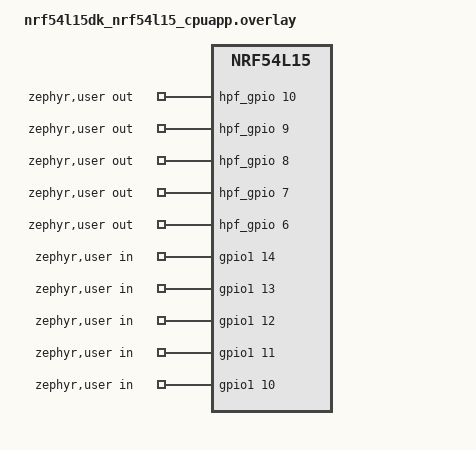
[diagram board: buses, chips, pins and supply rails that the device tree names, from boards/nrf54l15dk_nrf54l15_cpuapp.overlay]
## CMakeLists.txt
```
#
# Copyright (c) 2024 Nordic Semiconductor ASA
#
# SPDX-License-Identifier: LicenseRef-Nordic-5-Clause
#

cmake_minimum_required(VERSION 3.20.0)

find_package(Zephyr REQUIRED HINTS $ENV{ZEPHYR_BASE})
project(hpf_gpio_more_loops)

target_sources(app PRIVATE src/main.c)
```

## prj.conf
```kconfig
CONFIG_GPIO=y
CONFIG_ZTEST=y
CONFIG_LOG=y
```

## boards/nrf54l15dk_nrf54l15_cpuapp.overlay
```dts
/*
 * Copyright (c) 2024 Nordic Semiconductor ASA
 *
 * SPDX-License-Identifier: LicenseRef-Nordic-5-Clause
 */

/* Test requires GPIO loopback:
 * - between P2.10 and P1.14,
 * - between P2.09 and P1.13,
 * - between P2.08 and P1.12,
 * - between P2.07 and P1.11,
 * - between P2.06 and P1.10.
 */

/ {
	/* Test requirements:
	 * out-gpios[0] wire connected with in-gpios[0],
	 * out-gpios[1] wire connected with in-gpios[1],
	 * etc.
	 * Output-input GPIO pair must have identical active level flag.
	 * All outputs must be on the same device.
	 */
	zephyr,user {
		out-gpios = <&hpf_gpio 10 GPIO_ACTIVE_HIGH>, <&hpf_gpio 9 GPIO_ACTIVE_HIGH>,
			    <&hpf_gpio 8 GPIO_ACTIVE_HIGH>, <&hpf_gpio 7 GPIO_ACTIVE_HIGH>,
			    <&hpf_gpio 6 GPIO_ACTIVE_HIGH>;

		in-gpios = <&gpio1 14 GPIO_ACTIVE_HIGH>, <&gpio1 13 GPIO_ACTIVE_HIGH>,
			   <&gpio1 12 GPIO_ACTIVE_HIGH>, <&gpio1 11 GPIO_ACTIVE_HIGH>,
			   <&gpio1 10 GPIO_ACTIVE_HIGH>;
	};
};

&gpiote20 {
	status = "okay";
};

&gpio1 {
	status = "okay";
};
```

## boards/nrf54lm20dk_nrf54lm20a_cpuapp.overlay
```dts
/*
 * Copyright (c) 2026 Nordic Semiconductor ASA
 *
 * SPDX-License-Identifier: LicenseRef-Nordic-5-Clause
 */

/* Test requires GPIO loopback:
 * - between P2.06 and P3.00,
 * - between P2.09 and P3.01,
 * - between P2.10 and P3.02.
 */

/ {
	/* Test requirements:
	 * out-gpios[0] wire connected with in-gpios[0],
	 * out-gpios[1] wire connected with in-gpios[1],
	 * etc.
	 * Output-input GPIO pair must have identical active level flag.
	 * All outputs must be on the same device.
	 */
	zephyr,user {
		out-gpios = <&hpf_gpio 6 GPIO_ACTIVE_HIGH>, <&hpf_gpio 9 GPIO_ACTIVE_HIGH>,
			    <&hpf_gpio 10 GPIO_ACTIVE_HIGH>;

		in-gpios = <&gpio3 0 GPIO_ACTIVE_HIGH>, <&gpio3 1 GPIO_ACTIVE_HIGH>,
			   <&gpio3 2 GPIO_ACTIVE_HIGH>;
	};
};

&gpiote20 {
	status = "okay";
};

&gpio3 {
	status = "okay";
};
```

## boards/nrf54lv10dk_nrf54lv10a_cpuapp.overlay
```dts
/*
 * Copyright (c) 2026 Nordic Semiconductor ASA
 *
 * SPDX-License-Identifier: LicenseRef-Nordic-5-Clause
 */

/* Test requires GPIO loopback:
 * - between P1.16 and P1.22,
 * - between P1.17 and P1.23,
 * - between P1.20 and P1.21.
 */

/ {
	/* Test requirements:
	 * out-gpios[0] wire connected with in-gpios[0],
	 * out-gpios[1] wire connected with in-gpios[1],
	 * etc.
	 * Output-input GPIO pair must have identical active level flag.
	 * All outputs must be on the same device.
	 */
	zephyr,user {
		out-gpios = <&hpf_gpio 16 GPIO_ACTIVE_HIGH>, <&hpf_gpio 17 GPIO_ACTIVE_HIGH>,
			    <&hpf_gpio 20 GPIO_ACTIVE_HIGH>;

		in-gpios = <&gpio1 22 GPIO_ACTIVE_HIGH>, <&gpio1 23 GPIO_ACTIVE_HIGH>,
			   <&gpio1 21 GPIO_ACTIVE_HIGH>;
	};
};

&gpiote20 {
	status = "okay";
};

&gpio1 {
	status = "okay";
};
```

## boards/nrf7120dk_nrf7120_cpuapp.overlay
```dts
/*
 * Copyright (c) 2026 Nordic Semiconductor ASA
 *
 * SPDX-License-Identifier: LicenseRef-Nordic-5-Clause
 */

/* Test requires GPIO loopback between P2.00 and P0.06. */

/ {
	/* Test requirements:
	 * out-gpios[0] wire connected with in-gpios[0],
	 * out-gpios[1] wire connected with in-gpios[1],
	 * etc.
	 * Output-input GPIO pair must have identical active level flag.
	 * All outputs must be on the same device.
	 */
	zephyr,user {
		out-gpios = <&hpf_gpio 0 GPIO_ACTIVE_HIGH>;
		in-gpios = <&gpio0 6 GPIO_ACTIVE_HIGH>;
	};
};

&gpiote20 {
	status = "okay";
};

&gpio0 {
	status = "okay";
};
```

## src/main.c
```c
/*
 * Copyright (c) 2024 Nordic Semiconductor ASA
 *
 * SPDX-License-Identifier: LicenseRef-Nordic-5-Clause
 */

#include <zephyr/logging/log.h>
LOG_MODULE_REGISTER(hpf_gpio_loops, LOG_LEVEL_INF);

#include <zephyr/kernel.h>
#include <zephyr/drivers/gpio.h>
#include <zephyr/ztest.h>

#if !DT_NODE_HAS_PROP(DT_PATH(zephyr_user), out_gpios)
#error "Unsupported board: out_gpios are not defined"
#endif

#if !DT_NODE_HAS_PROP(DT_PATH(zephyr_user), in_gpios)
#error "Unsupported board: in_gpios are not defined"
#endif

/* Delay after setting GPIO ouputs. It allows signals to settle. */
#define PROPAGATION_DELAY_MS K_MSEC(1U)

/* ASSUMPTION: All output GPIOs are on the same device */
const struct gpio_dt_spec out_pins[] = {
	DT_FOREACH_PROP_ELEM_SEP(DT_PATH(zephyr_user), out_gpios, GPIO_DT_SPEC_GET_BY_IDX, (,))
};
BUILD_ASSERT(ARRAY_SIZE(out_pins) > 0, "missing out pins");

const struct gpio_dt_spec in_pins[] = {
	DT_FOREACH_PROP_ELEM_SEP(DT_PATH(zephyr_user), in_gpios, GPIO_DT_SPEC_GET_BY_IDX, (,))
};
BUILD_ASSERT(ARRAY_SIZE(in_pins) == ARRAY_SIZE(out_pins), "different number of in and out pins");
const uint8_t npairs = ARRAY_SIZE(in_pins);


/* Check that input GPIOs state match with input parameter 'value'. */
static void check_inputs(uint32_t value)
{
	bool current;
	bool expected;

	LOG_DBG("check_inputs(%u)", value);

	/* Wait a bit to stabilize logic level. */
	k_sleep(PROPAGATION_DELAY_MS);

	for (uint8_t i = 0; i < npairs; i++) {
		current = gpio_pin_get_dt(&in_pins[i]);
		expected = value & BIT(i);
		LOG_DBG("check_inputs L[%u]: current: %u, expected: %u", i, current, expected);
		zassert_equal(current, expected,
			"IN[%u] = %u, while expected %u", i, current, expected);
	}
}

/* Set output GPIOs with gpio_pin_configure()
 * and confirm that input GPIOs have expected state.
 */
static void gpio_pin_configure_and_check(uint32_t value)
{
	int rc;

	LOG_DBG("gpio_pin_configure_and_check(%u)", value);

	for (uint8_t i = 0; i < npairs; i++) {
		/* Disconnect output */
		rc = gpio_pin_configure_dt(&out_pins[i], GPIO_DISCONNECTED);
		if (rc == -ENOTSUP) {
			TC_PRINT("GPIO_DISCONNECTED not supported, trying with GPIO_INPUT\n");
			rc = gpio_pin_configure_dt(&out_pins[i], GPIO_INPUT);
		}
		zassert_equal(rc, 0,
			"gpio_pin_configure_dt(&out_pins[%u], GPIO_INPUT) failed", i);

		/* Connect output and set logic level */
		if (value & BIT(i)) {
			rc = gpio_pin_configure_dt(&out_pins[i], GPIO_OUTPUT_HIGH);
			LOG_DBG("gpio_pin_configure_dt(&out_pins[%u], GPIO_OUTPUT_HIGH)", i);
		} else {
			rc = gpio_pin_configure_dt(&out_pins[i], GPIO_OUTPUT_LOW);
			LOG_DBG("gpio_pin_configure_dt(&out_pins[%u], GPIO_OUTPUT_LOW)", i);
		}
		zassert_equal(rc, 0, "PIN_OUT_1 config as output failed");
	}

	/* Check inputs */
	check_inputs(value);
}

/* Helper function for gpio_port_set_masked_raw() / gpio_port_set_masked() test. */
static void gpio_port_set_masked_generic_and_check(uint32_t value, bool raw_variant)
{
	int rc;
	gpio_port_pins_t port_pins = 0;
	gpio_port_value_t port_value = 0;

	LOG_DBG("gpio_port_set_masked_generic_and_check(%u, %u)", value, raw_variant);

	for (uint8_t i = 0; i < npairs; i++) {
		port_pins |= (gpio_port_pins_t)BIT(out_pins[i].pin);
		port_value |= (value & BIT(i)) ? (gpio_port_value_t)BIT(out_pins[i].pin) : 0;
	}

	if (raw_variant) {
		rc = gpio_port_set_masked_raw(out_pins[0].port, port_pins, port_value);
		zassert_equal(rc, 0, "gpio_port_set_masked_raw(port, %u, %u) failed",
			port_pins, port_value);
		LOG_DBG("gpio_port_set_masked_raw(port, %u, %u)", port_pins, port_value);
	} else {
		rc = gpio_port_set_masked(out_pins[0].port, port_pins, port_value);
		zassert_equal(rc, 0, "gpio_port_set_masked(port, %u, %u) failed",
			port_pins, port_value);
		LOG_DBG("gpio_port_set_masked(port, %u, %u)", port_pins, port_value);
	}

	/* Check inputs */
	check_inputs(value);
}

/* Set output GPIOs with gpio_port_set_masked_raw()
 * and confirm that input GPIOs have expected state.
 */
static void gpio_port_set_masked_raw_and_check(uint32_t value)
{
	gpio_port_set_masked_generic_and_check(value, true);
}

/* Set output GPIOs with gpio_port_set_masked()
 * and confirm that input GPIOs have expected state.
 */
static void gpio_port_set_masked_and_check(uint32_t value)
{
	gpio_port_set_masked_generic_and_check(value, false);
}

/* Helper function for gpio_port_set_bits_raw() / gpio_port_set_bits() test. */
static void gpio_port_set_clear_bits_generic_and_check(uint32_t value, bool raw_variant)
{
	int rc;

	LOG_DBG("gpio_port_set_clear_bits_generic_and_check(%u)", value);

	for (uint8_t i = 0; i < npairs; i++) {
		if (raw_variant) {
			if (value & BIT(i)) {
				rc = gpio_port_set_bits_raw(out_pins[i].port,
					(gpio_port_pins_t)BIT(out_pins[i].pin));
				zassert_equal(rc, 0,
					"gpio_port_set_bits_raw(PIN_OUT_%u) failed", i);
				LOG_DBG("gpio_port_set_bits_raw(PIN_OUT_%u)", i);
			} else {
				rc = gpio_port_clear_bits_raw(out_pins[i].port,
					(gpio_port_pins_t)BIT(out_pins[i].pin));
				zassert_equal(rc, 0,
					"gpio_port_clear_bits_raw(PIN_OUT_%u) failed", i);
				LOG_DBG("gpio_port_clear_bits_raw(PIN_OUT_%u)", i);
			}
		} else {
			if (value & BIT(i)) {
				rc = gpio_port_set_bits(out_pins[i].port,
					(gpio_port_pins_t)BIT(out_pins[i].pin));
				zassert_equal(rc, 0, "gpio_port_set_bits(PIN_OUT_%u) failed", i);
				LOG_DBG("gpio_port_set_bits(PIN_OUT_%u)", i);
			} else {
				rc = gpio_port_clear_bits(out_pins[i].port,
					(gpio_port_pins_t)BIT(out_pins[i].pin));
				zassert_equal(rc, 0, "gpio_port_clear_bits(PIN_OUT_%u) failed", i);
				LOG_DBG("gpio_port_clear_bits(PIN_OUT_%u)", i);
			}
		}
	}

	/* Check inputs */
	check_inputs(value);
}

/* Set output GPIOs with gpio_port_[set|clear]_bits_raw()
 * and confirm that input GPIOs have expected state.
 */
static void gpio_port_set_clear_bits_raw_and_check(uint32_t value)
{
	gpio_port_set_clear_bits_generic_and_check(value, true);
}

/* Set output GPIOs with gpio_port_[set|clear]_bits()
 * and confirm that input GPIOs have expected state.
 */
static void gpio_port_set_clear_bits_and_check(uint32_t value)
{
	gpio_port_set_clear_bits_generic_and_check(value, false);
}

/* Set output GPIOs with gpio_port_toggle_bits()
 * and confirm that input GPIOs have expected state.
 */
static void gpio_port_toggle_bits_and_check(uint32_t value)
{
	int rc;
	gpio_port_pins_t port_pins = 0;

	LOG_DBG("gpio_port_toggle_bits_and_check(%u)", value);

	/* Set initial state 00000 */
	for (uint8_t i = 0; i < npairs; i++) {
		port_pins |= (gpio_port_pins_t)BIT(out_pins[i].pin);
	}
	rc = gpio_port_set_masked_raw(out_pins[0].port, port_pins, 0);
	zassert_equal(rc, 0, "gpio_port_set_masked_raw(port, %u, 0) failed", port_pins);

	/* All outputs are now 0, check which pins shall be toggled */
	port_pins = 0;
	for (uint8_t i = 0; i < npairs; i++) {
		port_pins |= (value & BIT(i)) ? (gpio_port_pins_t)BIT(out_pins[i].pin) : 0;
	}

	rc = gpio_port_toggle_bits(out_pins[0].port, port_pins);
	zassert_equal(rc, 0, "gpio_port_toggle_bits(port, %u) failed", port_pins);
	LOG_DBG("gpio_port_toggle_bits(port, %u)", port_pins);

	/* Check inputs */
	check_inputs(value);
}

/* Helper function for gpio_port_set_clr_bits_raw() / gpio_port_set_clr_bits() test. */
static void gpio_port_set_clr_bits_generic_and_check(uint32_t value, bool raw_variant)
{
	int rc;
	gpio_port_pins_t set_pins = 0;
	gpio_port_pins_t clear_pins = 0;

	LOG_DBG("gpio_port_set_clr_bits_generic_and_check(%u)", value);

	for (uint8_t i = 0; i < npairs; i++) {
		if (value & BIT(i)) {
			set_pins |= (gpio_port_pins_t)BIT(out_pins[i].pin);
		} else {
			clear_pins |= (gpio_port_pins_t)BIT(out_pins[i].pin);
		}
	}

	if (raw_variant) {
		rc = gpio_port_set_clr_bits_raw(out_pins[0].port, set_pins, clear_pins);
		zassert_equal(rc, 0, "gpio_port_set_clr_bits_raw(port, %u, %u) failed",
			set_pins, clear_pins);
		LOG_DBG("gpio_port_set_clr_bits_raw(port, %u, %u)", set_pins, clear_pins);
	} else {
		rc = gpio_port_set_clr_bits(out_pins[0].port, set_pins, clear_pins);
		zassert_equal(rc, 0, "gpio_port_set_clr_bits(port, %u, %u) failed",
			set_pins, clear_pins);
		LOG_DBG("gpio_port_set_clr_bits(port, %u, %u)", set_pins, clear_pins);
	}

	/* Check inputs */
	check_inputs(value);
}

/* Set output GPIOs with gpio_port_set_clr_bits_raw()
 * and confirm that input GPIOs have expected state.
 */
static void gpio_port_set_clr_bits_raw_and_check(uint32_t value)
{
	gpio_port_set_clr_bits_generic_and_check(value, true);
}

/* Set output GPIOs with gpio_port_set_clr_bits()
 * and confirm that input GPIOs have expected state.
 */
static void gpio_port_set_clr_bits_and_check(uint32_t value)
{
	gpio_port_set_clr_bits_generic_and_check(value, false);
}

/* Helper function for gpio_pin_set_raw() / gpio_pin_set() test. */
static void gpio_pin_set_generic_and_check(uint32_t value, bool raw_variant)
{
	int rc;
	int pin_value;

	LOG_DBG("gpio_pin_set_generic_and_check(%u)", value);

	for (uint8_t i = 0; i < npairs; i++) {
		pin_value = (value & BIT(i)) >> i;
		if (raw_variant) {
			rc = gpio_pin_set_raw(out_pins[i].port, out_pins[i].pin, pin_value);
			zassert_equal(rc, 0, "gpio_pin_set_raw(port, PIN_OUT_%u, %u) failed",
				i, pin_value);
			LOG_DBG("gpio_pin_set_raw(port, PIN_OUT_%u, %u)", i, pin_value);
		} else {
			rc = gpio_pin_set(out_pins[i].port, out_pins[i].pin, pin_value);
			zassert_equal(rc, 0, "gpio_pin_set(port, PIN_OUT_%u, %u) failed",
				i, pin_value);
			LOG_DBG("gpio_pin_set(port, PIN_OUT_%u, %u)", i, pin_value);
		}
	}

	/* Check inputs */
	check_inputs(value);
}

/* Set output GPIOs with gpio_pin_set_raw()
 * and confirm that input GPIOs have expected state.
 */
static void gpio_pin_set_raw_and_check(uint32_t value)
{
	gpio_pin_set_generic_and_check(value, true);
}

/* Set output GPIOs with gpio_pin_set()
 * and confirm that input GPIOs have expected state.
 */
static void gpio_pin_set_and_check(uint32_t value)
{
	gpio_pin_set_generic_and_check(value, false);
}

/* Set output GPIOs with gpio_pin_toggle()
 *and confirm that input GPIOs have expected state.
 */
static void gpio_pin_toggle_and_check(uint32_t value)
{
	int rc;
	gpio_port_pins_t port_pins = 0;

	LOG_DBG("gpio_pin_toggle_and_check(%u)", value);

	/* Set initial state 00000 */
	for (uint8_t i = 0; i < npairs; i++) {
		port_pins |= (gpio_port_pins_t)BIT(out_pins[i].pin);
	}
	rc = gpio_port_set_masked_raw(out_pins[0].port, port_pins, 0);
	zassert_equal(rc, 0, "gpio_port_set_masked_raw(port, %u, 0) failed", port_pins);

	for (uint8_t i = 0; i < npairs; i++) {
		if (value & BIT(i)) {
			rc = gpio_pin_toggle(out_pins[i].port, out_pins[i].pin);
			zassert_equal(rc, 0, "gpio_pin_toggle(port, PIN_OUT_%u) failed", i);
			LOG_DBG("gpio_pin_toggle(port, PIN_OUT_%u)", i);
		}
	}

	/* Check inputs */
	check_inputs(value);
}

/* Generate "moving 1" pattern on outputs.
 * Set outputs (and check inputs) using function provided in the fn parameter.
 */
static void generic_moving_1(void (*fn)(uint32_t))
{
	int value;

	/* Set/check 111..11 */
	(*fn)(0xFFFFFFFFU);

	/* Set/check 000..00 */
	(*fn)(0U);

	/* Moving 1 */
	for (uint16_t i = 0; i < (2 * npairs - 1); i++) {
		if (i == 0) {
			value = 1;
			/* Set/check 00001 */
			(*fn)(value);
		} else if (i < npairs) {
			/* shift left */
			value = value << 1;
			(*fn)(value);
		} else {
			/* shift right */
			value = value >> 1;
			(*fn)(value);
		}
	}

	/* Set/check 000..00 */
	(*fn)(0U);
}

/**
 * @brief test setting output GPIO high/low with
 * gpio_pin_configure()
 */
ZTEST(hpf_gpio_extended, test_moving_1_with_configure_output)
{
	generic_moving_1(&gpio_pin_configure_and_check);
}

/**
 * @brief test setting output GPIO high/low with
 * gpio_port_set_masked_raw()
 */
ZTEST(hpf_gpio_extended, test_moving_1_with_port_set_masked_raw)
{
	generic_moving_1(&gpio_port_set_masked_raw_and_check);
}

/**
 * @brief test setting output GPIO high/low with
 * gpio_port_set_masked()
 */
ZTEST(hpf_gpio_extended, test_moving_1_with_port_set_masked)
{
	generic_moving_1(&gpio_port_set_masked_and_check);
}

/**
 * @brief test setting output GPIO high/low with
 * gpio_port_set_bits_raw() and gpio_port_clear_bits_raw()
 */
ZTEST(hpf_gpio_extended, test_moving_1_with_set_clear_bits_raw)
{
	generic_moving_1(&gpio_port_set_clear_bits_raw_and_check);
}

/**
 * @brief test setting output GPIO high/low with
 * gpio_port_set_bits() and gpio_port_clear_bits()
 */
ZTEST(hpf_gpio_extended, test_moving_1_with_set_clear_bits)
{
	generic_moving_1(&gpio_port_set_clear_bits_and_check);
}

/**
 * @brief test setting output GPIO high/low with
 * gpio_port_toggle_bits()
 */
ZTEST(hpf_gpio_extended, test_moving_1_with_gpio_port_toggle_bits)
{
	generic_moving_1(&gpio_port_toggle_bits_and_check);
}

/**
 * @brief test setting output GPIO high/low with
 * gpio_port_set_clr_bits_raw()
 */
ZTEST(hpf_gpio_extended, test_moving_1_with_gpio_port_set_clr_bits_raw)
{
	generic_moving_1(&gpio_port_set_clr_bits_raw_and_check);
}

/**
 * @brief test setting output GPIO high/low with
 * gpio_port_set_clr_bits()
 */
ZTEST(hpf_gpio_extended, test_moving_1_with_gpio_port_set_clr_bits)
{
	generic_moving_1(&gpio_port_set_clr_bits_and_check);
}

/**
 * @brief test setting output GPIO high/low with
 * gpio_pin_set_raw()
 */
ZTEST(hpf_gpio_extended, test_moving_1_with_gpio_pin_set_raw)
{
	generic_moving_1(&gpio_pin_set_raw_and_check);
}

/**
 * @brief test setting output GPIO high/low with
 * gpio_pin_set()
 */
ZTEST(hpf_gpio_extended, test_moving_1_with_gpio_pin_set)
{
	generic_moving_1(&gpio_pin_set_and_check);
}

/**
 * @brief test setting output GPIO high/low with
 * gpio_pin_toggle()
 */
ZTEST(hpf_gpio_extended, test_moving_1_with_gpio_pin_toggle)
{
	generic_moving_1(&gpio_pin_toggle_and_check);
}

/**
 * @brief Stress test - send many GPIO requests one by one
 */
ZTEST(hpf_gpio_extended, test_stress_gpio_set)
{
	int rc;
	int rc_acc = 0;
	gpio_port_pins_t port_pins = 0;
	gpio_port_value_t port_value;

	for (int i = 0; i < npairs; i++) {
		port_pins |= (gpio_port_pins_t)BIT(out_pins[i].pin);
	}

	for (int loop = 0; loop < 200000; loop++) {
		port_value = 0;
		for (int pair = 0; pair < npairs; pair++) {
			port_value |= (loop % (pair + 2)) ? BIT(out_pins[pair].pin) : 0;

		}
		rc = gpio_port_set_masked_raw(out_pins[0].port, port_pins, port_value);
		/* If TX buffer is full, wait a bit and retry */
		while (rc == -EIO) {
			k_usleep(100);
			rc = gpio_port_set_masked_raw(out_pins[0].port, port_pins, port_value);
		}

		/* Report any other error */
		if (rc) {
			TC_PRINT("%d: rc = %d\n", loop, rc);
			rc_acc += rc;
		}
	}
	zassert_equal(rc_acc, 0, "at least one set operation failed, rc_acc = %d)", rc_acc);
}

static void *suite_setup(void)
{
	uint8_t i;
	int rc;

	TC_PRINT("Test executed on %s\n", CONFIG_BOARD_TARGET);

	TC_PRINT("-> Test uses following backend: ");
	if (IS_ENABLED(CONFIG_GPIO_HPF_GPIO_BACKEND_ICMSG)) {
		TC_PRINT("ICMsg\n");
	} else if (IS_ENABLED(CONFIG_GPIO_HPF_GPIO_BACKEND_ICBMSG)) {
		TC_PRINT("ICBMsg\n");
	} else if (IS_ENABLED(CONFIG_GPIO_HPF_GPIO_BACKEND_MBOX)) {
		TC_PRINT("MBOX\n");
	} else {
		TC_PRINT("unknown\n");
	}
	TC_PRINT("GPIO Loops count: %u\n", npairs);
	TC_PRINT("===================================================================\n");

	for (i = 0; i < npairs; i++) {
		zassert_true(gpio_is_ready_dt(&in_pins[i]), "IN[%u] is not ready", i);
		zassert_true(gpio_is_ready_dt(&out_pins[i]), "OUT[%u] is not ready", i);
	}

	for (i = 0; i < npairs; i++) {
		rc = gpio_pin_configure_dt(&in_pins[i], GPIO_INPUT);
		zassert_equal(rc, 0, "IN[%u] config failed (%d)", i, rc);
		rc = gpio_pin_configure_dt(&out_pins[i], GPIO_OUTPUT);
		zassert_equal(rc, 0, "OUT[%u] config failed (%d)", i, rc);
		LOG_DBG("IN[%u] - OUT[%u] were configured", i, i);
	}

	return NULL;
}

ZTEST_SUITE(hpf_gpio_extended, NULL, suite_setup, NULL, NULL, NULL);
```
